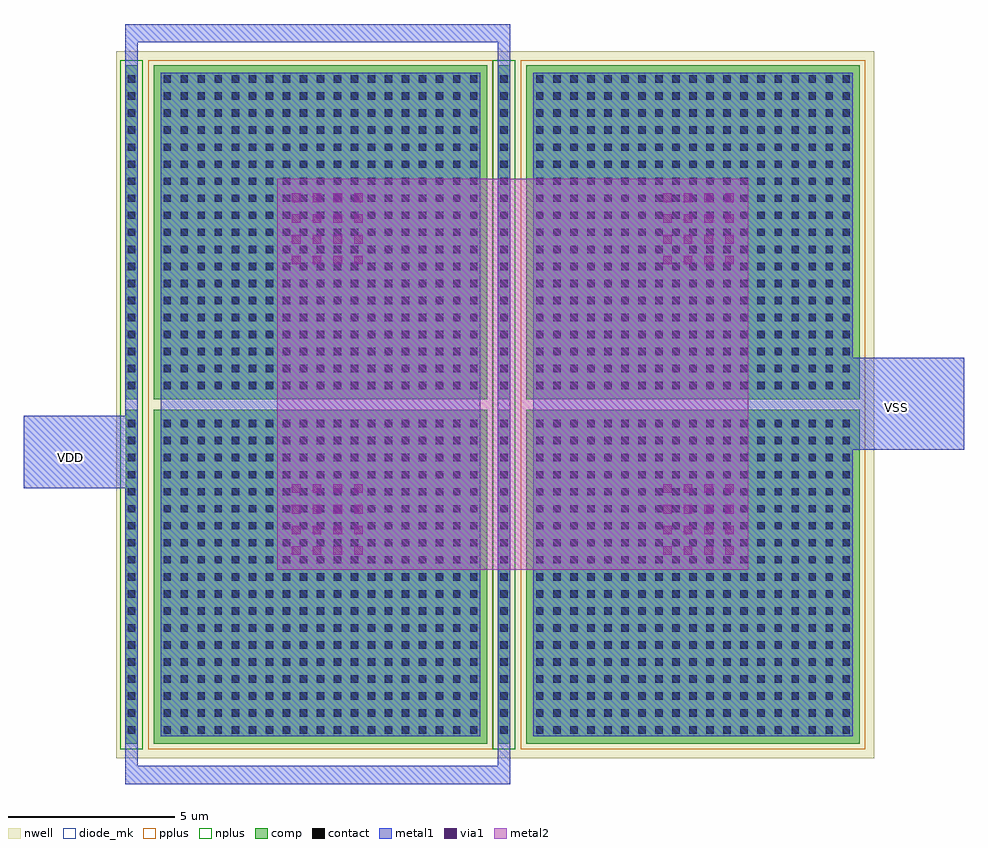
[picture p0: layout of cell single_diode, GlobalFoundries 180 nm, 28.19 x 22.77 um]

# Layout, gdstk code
import gdstk
lib = gdstk.Library(unit=1e-6, precision=1e-09)
def R(c, l, rs):  # rectangles x0, y0, x1, y1
    for r in rs: c.add(gdstk.rectangle(r[:2], r[2:], *l))
def A(c, l, x, y, w, h, nx, ny, dx, dy):  # array of equal rectangles
    R(c, l, [(x+i*dx, y+j*dy, x+i*dx+w, y+j*dy+h) for i in range(nx) for j in range(ny)])
def P(c, l, *ps):  # polygons
    for p in ps: c.add(gdstk.Polygon(p, *l))
nwell = (21, 0)
comp = (22, 0)
pplus = (31, 0)
nplus = (32, 0)
contact = (33, 0)
metal1 = (34, 0)
via1 = (35, 0)
metal2 = (36, 0)
diode_mk = (115, 5)

diode_pd2nw_1 = lib.new_cell('diode_pd2nw$1')
R(diode_pd2nw_1, nwell, [(-1.12,-0.43,10.43,10.43)])
R(diode_pd2nw_1, comp, [(-0.84,0,-0.48,10), (0,0,10,10)])
R(diode_pd2nw_1, pplus, [(-0.16,-0.16,10.16,10.16)])
R(diode_pd2nw_1, nplus, [(-1,-0.16,-0.32,10.16)])
A(diode_pd2nw_1, contact, -0.77, 0.3, 0.22, 0.22, 1, 19, 0, 0.51)
A(diode_pd2nw_1, contact, 0.3, 0.3, 0.22, 0.22, 19, 19, 0.51, 0.51)
R(diode_pd2nw_1, metal1, [(-0.85,0.22,-0.47,9.78), (0.22,0.22,9.78,9.78)])
R(diode_pd2nw_1, diode_mk, [(0,0,10,10)])

via_dev = lib.new_cell('via_dev')
R(via_dev, metal1, [(0,0,3,3)])
A(via_dev, via1, 0.44, 0.44, 0.26, 0.26, 4, 4, 0.62, 0.62)
R(via_dev, metal2, [(0,0,3,3)])

single_diode = lib.new_cell('single_diode')
R(single_diode, metal1, [(-0.12,-5.39,11.42,-4.85), (-3.165,3.475,0.19,5.64), (20.285,4.62,25.02,7.38), (12.11,4.98,21.67,6.785), (0.95,5.095,10.51,6.575), (-0.12,5.45,0.26,6.62), (11.04,5.495,11.42,6.42), (11.04,15.83,11.42,17.375), (-0.121,16.835,11.42,17.375)])
P(single_diode, metal1, [(-0.12,-5.25),(-0.12,-3.665),(0.115,-3.665),(0.26,-3.665),(0.26,-5.25)],
  [(11.04,-5.165),(11.04,-3.715),(11.24,-3.715),(11.42,-3.715),(11.42,-5.165)],
  [(-0.121,15.745),(-0.121,17.285),(0.07,17.285),(0.26,17.285),(0.26,15.745)])
R(single_diode, metal2, [(4.435,1.03,18.55,12.74)])
single_diode.add(gdstk.Reference(diode_pd2nw_1, (0.73,6.135)))
single_diode.add(gdstk.Reference(diode_pd2nw_1, (11.89,6.135)))
single_diode.add(gdstk.Reference(diode_pd2nw_1, (11.89,-4.185)))
single_diode.add(gdstk.Reference(via_dev, (4.435,9.74)))
single_diode.add(gdstk.Reference(via_dev, (4.435,1.03)))
single_diode.add(gdstk.Reference(via_dev, (15.55,9.74)))
single_diode.add(gdstk.Reference(via_dev, (15.55,1.03)))
single_diode.add(gdstk.Reference(diode_pd2nw_1, (0.73,-4.185)))
single_diode.add(gdstk.Label('VDD', (-1.77,4.38), layer=34, texttype=10))
single_diode.add(gdstk.Label('VSS', (22.985,5.895), layer=34, texttype=10))

lib.write_gds('single_diode.gds')
